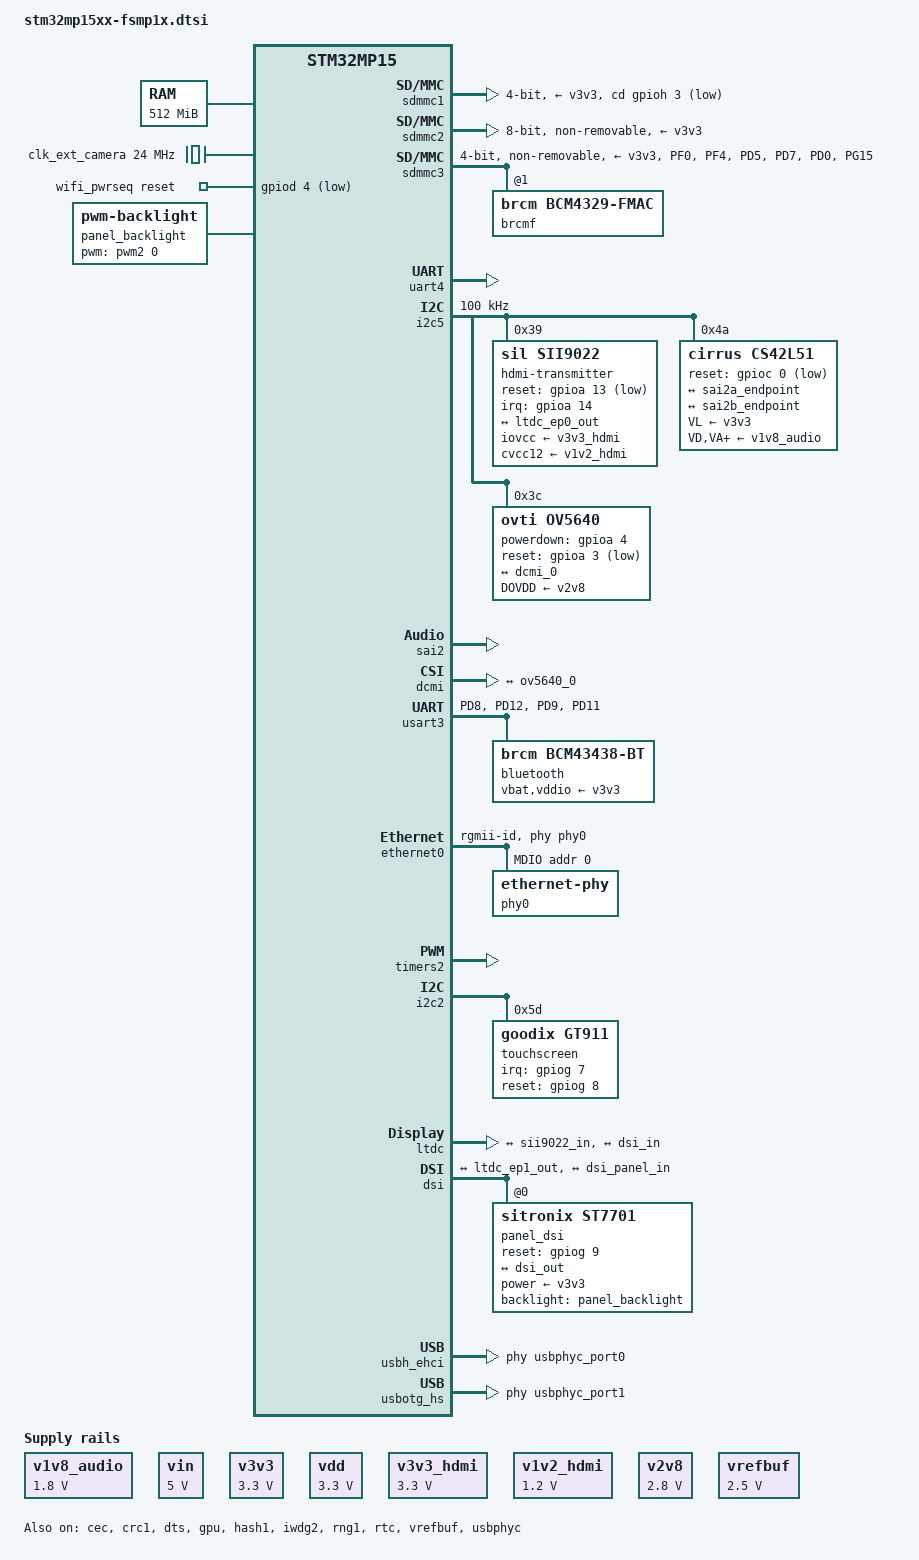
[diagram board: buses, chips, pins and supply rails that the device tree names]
#include "stm32mp15-m4-srm.dtsi"
#include "stm32mp15-m4-srm-pinctrl.dtsi"
#include <dt-bindings/gpio/gpio.h>
#include <dt-bindings/mfd/st,stpmic1.h>
#include <dt-bindings/rtc/rtc-stm32.h>

/ {
    memory@c0000000 {
        device_type = "memory";
        reg = <0xc0000000 0x20000000>;
    };
	
	v1v8_audio: regulator-v1v8_audio {
		compatible = "regulator-fixed";
		regulator-name = "v1v8_audio";
		regulator-min-microvolt = <1800000>;
		regulator-max-microvolt = <1800000>;
		regulator-always-on;
		regulator-boot-on;
	};
	sound {
		compatible = "audio-graph-card";
		label = "STM32MP1-FSMP1A";
		routing =
			"Playback" , "MCLK",
			"Capture" , "MCLK",
			"MICL" , "Mic Bias";
		dais = <&sai2a_port &sai2b_port>;
		status = "okay";
	};

    reserved-memory {
        #address-cells = <1>;
        #size-cells = <1>;
        ranges;

        mcuram2: mcuram2@10000000 {
            compatible = "shared-dma-pool";
            reg = <0x10000000 0x40000>;
            no-map;
        };

        vdev0vring0: vdev0vring0@10040000 {
            compatible = "shared-dma-pool";
            reg = <0x10040000 0x1000>;
            no-map;
        };

        vdev0vring1: vdev0vring1@10041000 {
            compatible = "shared-dma-pool";
            reg = <0x10041000 0x1000>;
            no-map;
        };

        vdev0buffer: vdev0buffer@10042000 {
            compatible = "shared-dma-pool";
            reg = <0x10042000 0x4000>;
            no-map;
        };

        mcuram: mcuram@30000000 {
            compatible = "shared-dma-pool";
            reg = <0x30000000 0x40000>;
            no-map;
        };

        retram: retram@38000000 {
            compatible = "shared-dma-pool";
            reg = <0x38000000 0x10000>;
            no-map;
        };
    };

    vin: vin {
        compatible = "regulator-fixed";
        regulator-name = "vin";
        regulator-min-microvolt = <5000000>;
        regulator-max-microvolt = <5000000>;
        regulator-always-on;
    };

    v3v3: regulator-3p3v {
        compatible = "regulator-fixed";
        regulator-name = "v3v3";
        regulator-min-microvolt = <3300000>;
        regulator-max-microvolt = <3300000>;
        regulator-always-on;
        regulator-boot-on;
    };

    vdd: regulator-vdd {
         compatible = "regulator-fixed";
         regulator-name = "vdd";
         regulator-min-microvolt = <3300000>;
         regulator-max-microvolt = <3300000>;
         regulator-always-on;
         regulator-boot-on;
     };

	v3v3_hdmi: regulator-v3v3-hdmi {
		compatible = "regulator-fixed";
		regulator-name = "v3v3_hdmi ";
		regulator-min-microvolt = <3300000>;
		regulator-max-microvolt = <3300000>;
		regulator-always-on;
		regulator-boot-on;
	};

	v1v2_hdmi: regulator-v1v2-hdmi {
		compatible = "regulator-fixed";
		regulator-name = "v1v2_hdmi";
		regulator-min-microvolt = <1200000>;
		regulator-max-microvolt = <1200000>;
		regulator-always-on;
		regulator-boot-on;
	};
	v2v8: regulator-2p8v {
		compatible = "regulator-fixed";
		regulator-name = "v2v8";
		regulator-min-microvolt = <2800000>;
		regulator-max-microvolt = <2800000>;
		regulator-always-on;
		regulator-boot-on;
	};
	clocks {
		clk_ext_camera: clk-ext-camera {
			#clock-cells = <0>;
			compatible = "fixed-clock";
			clock-frequency = <24000000>;
		};
	};
	usb_phy_tuning: usb-phy-tuning {
		st,hs-dc-level = <2>;
		st,fs-rftime-tuning;
		st,hs-rftime-reduction;
		st,hs-current-trim = <15>;
		st,hs-impedance-trim = <1>;
		st,squelch-level = <3>;
		st,hs-rx-offset = <2>;
		st,no-lsfs-sc;
	};
	wifi_pwrseq: wifi-pwrseq {
    	compatible = "mmc-pwrseq-simple";
    	reset-gpios = <&gpiod 4 GPIO_ACTIVE_LOW>;
	};

	panel_backlight: panel-backlight {
		compatible = "pwm-backlight";
		pwms = <&pwm2 0 5000000>;
		brightness-levels = <0 4 8 16 32 64 128 255>;
		default-brightness-level = <6>;
		status = "okay";
	};
};

/*HDMI CEC控制器*/
&cec {
    pinctrl-names = "default", "sleep";
    pinctrl-0 = <&cec_pins_b>;
    pinctrl-1 = <&cec_sleep_pins_b>;
    status = "okay";
};

/*循环冗余校验计算单元*/
&crc1 {
    status = "okay";
};

&dma1 {
    sram = <&dma_pool>;
};

&dma2 {
    sram = <&dma_pool>;
};
/*数字钟温度传感器*/
&dts {
    status = "okay";
};
/*图像处理单元*/
&gpu {
    contiguous-area = <&gpu_reserved>;
    status = "okay";
};
/*哈希处理器*/
&hash1 {
    status = "okay";
};

/*处理器间通信控制器*/
&ipcc {
    status = "okay";
};

/*看门狗*/
&iwdg2 {
    timeout-sec = <32>;
    status = "okay";
};

/*随机数发生器*/
&rng1 {
    status = "okay";
};

/*实时时钟*/
&rtc {
	st,lsco = <RTC_OUT2_RMP>;
 	pinctrl-0 = <&rtc_out2_rmp_pins_a>;
 	pinctrl-names = "default";
	status = "okay";

};

/*sdmmc1 TF卡*/
&sdmmc1 {
    pinctrl-names = "default", "opendrain", "sleep";
    pinctrl-0 = <&sdmmc1_b4_pins_a>;
    pinctrl-1 = <&sdmmc1_b4_od_pins_a>;
    pinctrl-2 = <&sdmmc1_b4_sleep_pins_a>;
    cd-gpios = <&gpioh 3 (GPIO_ACTIVE_LOW | GPIO_PULL_UP)>;
    disable-wp;
    st,neg-edge;
    bus-width = <4>;
    vmmc-supply = <&v3v3>;
    status = "okay";
};

&sdmmc2 {
	pinctrl-names = "default", "opendrain", "sleep";
	pinctrl-0 = <&sdmmc2_b4_pins_a &sdmmc2_d47_pins_a>;
	pinctrl-1 = <&sdmmc2_b4_od_pins_a &sdmmc2_d47_pins_a>;
	pinctrl-2 = <&sdmmc2_b4_sleep_pins_a &sdmmc2_d47_sleep_pins_a>;
	non-removable;
	no-sd;
	no-sdio;
	st,neg-edge;
	bus-width = <8>;
	vmmc-supply = <&v3v3>;
	vqmmc-supply = <&vdd>;
	mmc-ddr-3_3v;
	status = "okay";
};

&sdmmc3 {
    arm,primecell-periphid = <0x10153180>;
    pinctrl-names = "default", "opendrain", "sleep";
    pinctrl-0 = <&sdmmc3_b4_wifi_pins_a>;
    pinctrl-1 = <&sdmmc3_b4_od_wifi_pins_a>;
    pinctrl-2 = <&sdmmc3_b4_sleep_wifi_pins_a>;
    non-removable;
    st,neg-edge;
    bus-width = <4>;
    vmmc-supply = <&v3v3>;
    mmc-pwrseq = <&wifi_pwrseq>;
    #address-cells = <1>;
    #size-cells = <0>;
    keep-power-in-suspend;
    status = "okay";

    brcmf: bcrmf@1 {
        reg = <1>;
        compatible = "brcm,bcm4329-fmac";
    };
};


&sram {
    dma_pool: dma_pool@0 {
        reg = <0x50000 0x10000>;
        pool;
    };
};

/*命令行终端*/
&uart4 {
    pinctrl-names = "default", "sleep", "idle";
    pinctrl-0 = <&uart4_pins_a>;
    pinctrl-1 = <&uart4_sleep_pins_a>;
    pinctrl-2 = <&uart4_idle_pins_a>;
    pinctrl-3 = <&uart4_pins_a>;
    /delete-property/dmas;
    /delete-property/dma-names;
    status = "okay";
};

/*电源基准缓冲器*/
&vrefbuf {
    regulator-min-microvolt = <2500000>;
    regulator-max-microvolt = <2500000>;
    vdda-supply = <&vdd>;
    status = "okay";
};

&pinctrl {
	sdmmc3_b4_wifi_pins_a: sdmmc3-b4-wifi-0 {
    	pins1 {
        	pinmux = <STM32_PINMUX('F', 0, AF9)>, /* SDMMC3_D0 */
             	<STM32_PINMUX('F', 4, AF9)>, /* SDMMC3_D1 */
             	<STM32_PINMUX('D', 5, AF10)>, /* SDMMC3_D2 */
            	<STM32_PINMUX('D', 7, AF10)>, /* SDMMC3_D3 */
             	<STM32_PINMUX('D', 0, AF10)>; /* SDMMC3_CMD */
        	slew-rate = <1>;
        	drive-push-pull;
        	bias-pull-up;
    	};
    	pins2 {
        	pinmux = <STM32_PINMUX('G', 15, AF10)>; /* SDMMC3_CK */
        	slew-rate = <2>;
        	drive-push-pull;
        	bias-pull-up;
    	};
	};

	sdmmc3_b4_od_wifi_pins_a: sdmmc3-b4-od-wifi-0 {
    	pins1 {
        	pinmux = <STM32_PINMUX('F', 0, AF9)>, /* SDMMC3_D0 */
            	<STM32_PINMUX('F', 4, AF9)>, /* SDMMC3_D1 */
             	<STM32_PINMUX('D', 5, AF10)>, /* SDMMC3_D2 */
             	<STM32_PINMUX('D', 7, AF10)>; /* SDMMC3_D3 */
        	slew-rate = <1>;
        	drive-push-pull;
        	bias-pull-up;
    	};

    	pins2 {
        	pinmux = <STM32_PINMUX('G', 15, AF10)>; /* SDMMC3_CK */
        	slew-rate = <2>;
        	drive-push-pull;
        	bias-pull-up;
    	};

    	pins3 {
        	pinmux = <STM32_PINMUX('D', 0, AF10)>; /* SDMMC2_CMD */
        	slew-rate = <1>;
        	drive-open-drain;
        	bias-pull-up;
    	};
	};

	sdmmc3_b4_sleep_wifi_pins_a: sdmmc3-b4-sleep-wifi-0 {
    	pins {
        	pinmux = <STM32_PINMUX('F', 0, ANALOG)>, /* SDMMC3_D0 */
             	<STM32_PINMUX('F', 4, ANALOG)>, /* SDMMC3_D1 */
             	<STM32_PINMUX('D', 5, ANALOG)>, /* SDMMC3_D2 */
             	<STM32_PINMUX('D', 7, ANALOG)>, /* SDMMC3_D3 */
             	<STM32_PINMUX('G', 15, ANALOG)>, /* SDMMC3_CK */
             	<STM32_PINMUX('D', 0, ANALOG)>; /* SDMMC3_CMD */
    	};
	};

	pwm2_pins_b: pwm2-0 {
		pins {
			pinmux = <STM32_PINMUX('A', 5, AF1)>; /* TIM2_CH1 */
			bias-pull-down;
			drive-push-pull;
			slew-rate = <0>;
		};
	};

	pwm2_sleep_pins_b: pwm1-sleep-0 {
		pins {
			pinmux = <STM32_PINMUX('A', 5, ANALOG)>; /* TIM2_CH1 */
		};
	};

	usart3_pins_bt: usart3-bt-0 {
    	pins1 {
       		pinmux = <STM32_PINMUX('D', 8, AF7)>, /* USART3_TX */
              <STM32_PINMUX('D', 12, AF7)>; /* USART3_RTS */
       		bias-disable;
       		drive-push-pull;
       		slew-rate = <0>;
    	};
    	pins2 {
       		pinmux = <STM32_PINMUX('D', 9, AF7)>, /* USART3_RX */
              <STM32_PINMUX('D', 11, AF7)>; /* USART3_CTS_NSS */
       		bias-disable;
    	}; 
	};

	usart3_idle_pins_bt: usart3-idle-bt-0 {
    	pins1 {
        	pinmux = <STM32_PINMUX('D', 8, ANALOG)>, /* USART3_TX */
               <STM32_PINMUX('D', 12, ANALOG)>, /* USART3_RTS */
               <STM32_PINMUX('D', 11, ANALOG)>; /* USART3_CTS_NSS */
    	};
    	pins2 {
        	pinmux = <STM32_PINMUX('D', 9, AF7)>; /* USART3_RX */
        	bias-disable;
    	};
	};

	usart3_sleep_pins_bt: usart3-sleep-bt-0 {
    	pins {
        	pinmux = <STM32_PINMUX('D', 8, ANALOG)>, /* USART3_TX */
                <STM32_PINMUX('D', 12, ANALOG)>, /* USART3_RTS */
                <STM32_PINMUX('D', 11, ANALOG)>, /* USART3_CTS_NSS */
                <STM32_PINMUX('D', 9, ANALOG)>; /* USART3_RX */
    	};
	};

	btreg0: bt_reg_on-0 {
    	pins {
        	pinmux = <STM32_PINMUX('D', 13, GPIO)>;
        	drive-push-pull;
        	bias-pull-up;
        	output-high;
        	slew-rate = <0>;
    	};
	};
};

&i2c5 {
	pinctrl-names = "default", "sleep";
	pinctrl-0 = <&i2c5_pins_a>;
	pinctrl-1 = <&i2c5_sleep_pins_a>;
	i2c-scl-rising-time-ns = <100>;
	i2c-scl-falling-time-ns = <7>;
	clock-frequency = <100000>;
	/* spare dmas for other usage */
	/delete-property/dmas;
	/delete-property/dma-names;
	status = "okay";

	hdmi-transmitter@39 {
		compatible = "sil,sii9022";
		reg = <0x39>;
		iovcc-supply = <&v3v3_hdmi>;
		cvcc12-supply = <&v1v2_hdmi>;
		reset-gpios = <&gpioa 13 GPIO_ACTIVE_LOW>;
		interrupts = <14 IRQ_TYPE_EDGE_FALLING>;
		interrupt-parent = <&gpioa>;
		#sound-dai-cells = <0>;
		status = "okay";

		ports {
			#address-cells = <1>;
			#size-cells = <0>;

			port@0 {
				reg = <0>;
				sii9022_in: endpoint {
					remote-endpoint = <&ltdc_ep0_out>;
				};
			};
		};
	};

	cs42l51: cs42l51@4a {
		compatible = "cirrus,cs42l51";
		reg = <0x4a>;
		#sound-dai-cells = <0>;
		VL-supply = <&v3v3>;
		VD-supply = <&v1v8_audio>;
		VA-supply = <&v1v8_audio>;
		VAHP-supply = <&v1v8_audio>;
		reset-gpios = <&gpioc 0 GPIO_ACTIVE_LOW>;
		clocks = <&sai2a>;
		clock-names = "MCLK";
		status = "okay";

		cs42l51_port: port {
			#address-cells = <1>;
			#size-cells = <0>;

			cs42l51_tx_endpoint: endpoint@0 {
				reg = <0>;
				remote-endpoint = <&sai2a_endpoint>;
				frame-master;
				bitclock-master;
			};

			cs42l51_rx_endpoint: endpoint@1 {
				reg = <1>;
				remote-endpoint = <&sai2b_endpoint>;
				frame-master;
				bitclock-master;
			};
		};
	};

	ov5640: camera@3c {
		compatible = "ovti,ov5640";
		reg = <0x3c>;
		clocks = <&clk_ext_camera>;
		clock-names = "xclk";
		DOVDD-supply = <&v2v8>;
		powerdown-gpios = <&gpioa 4 (GPIO_ACTIVE_HIGH | GPIO_PUSH_PULL)>;
		reset-gpios = <&gpioa 3 (GPIO_ACTIVE_LOW | GPIO_PUSH_PULL)>;
		rotation = <180>;
		status = "okay";

		port {
			ov5640_0: endpoint {
				remote-endpoint = <&dcmi_0>;
				bus-width = <8>;
				data-shift = <2>; /* lines 9:2 are used */
				hsync-active = <0>;
				vsync-active = <0>;
				pclk-sample = <1>;
				pclk-max-frequency = <77000000>;
		  	};
		};
	};

};


&sai2 {
	clocks = <&rcc SAI2>, <&rcc PLL3_Q>, <&rcc PLL3_R>;
	clock-names = "pclk", "x8k", "x11k";
	pinctrl-names = "default", "sleep";
	pinctrl-0 = <&sai2a_pins_a>, <&sai2b_pins_b>;
	pinctrl-1 = <&sai2a_sleep_pins_a>, <&sai2b_sleep_pins_b>;
	status = "okay";

	sai2a: audio-controller@4400b004 {
		#clock-cells = <0>;
		dma-names = "tx";
		clocks = <&rcc SAI2_K>;
		clock-names = "sai_ck";
		status = "okay";

		sai2a_port: port {
			sai2a_endpoint: endpoint {
				remote-endpoint = <&cs42l51_tx_endpoint>;
				format = "i2s";
				mclk-fs = <256>;
				dai-tdm-slot-num = <2>;
				dai-tdm-slot-width = <32>;
			};
		};
	};

	sai2b: audio-controller@4400b024 {
		dma-names = "rx";
		st,sync = <&sai2a 2>;
		clocks = <&rcc SAI2_K>, <&sai2a>;
		clock-names = "sai_ck", "MCLK";
		status = "okay";

		sai2b_port: port {
			sai2b_endpoint: endpoint {
				remote-endpoint = <&cs42l51_rx_endpoint>;
				format = "i2s";
				mclk-fs = <256>;
				dai-tdm-slot-num = <2>;
				dai-tdm-slot-width = <32>;
			};
		};
	};
};


&dcmi {
	status = "okay";
	pinctrl-names = "default", "sleep";
	pinctrl-0 = <&dcmi_pins_a>;
	pinctrl-1 = <&dcmi_sleep_pins_a>;

	port {
		dcmi_0: endpoint {
			remote-endpoint = <&ov5640_0>;
			bus-width = <8>;
			hsync-active = <0>;
			vsync-active = <0>;
			pclk-sample = <1>;
			pclk-max-frequency = <77000000>;
		};
	};
};

&usart3 {
    pinctrl-names = "default", "sleep", "idle";
    pinctrl-0 = <&usart3_pins_bt>;
    pinctrl-1 = <&usart3_idle_pins_bt>;
    pinctrl-2 = <&usart3_sleep_pins_bt>;
    uart-has-rtscts; 
    status = "okay";
        
    bluetooth {
        pinctrl-names = "default";
        pinctrl-0 = <&btreg0>;
        compatible = "brcm,bcm43438-bt";
        max-speed = <3000000>;
        vbat-supply = <&v3v3>;
        vddio-supply = <&v3v3>;
    };
};

&sdmmc3 {
    arm,primecell-periphid = <0x10153180>;
    pinctrl-names = "default", "opendrain", "sleep";
    pinctrl-0 = <&sdmmc3_b4_wifi_pins_a>;
    pinctrl-1 = <&sdmmc3_b4_od_wifi_pins_a>;
    pinctrl-2 = <&sdmmc3_b4_sleep_wifi_pins_a>;
    non-removable;
    st,neg-edge;
    bus-width = <4>;
    vmmc-supply = <&v3v3>;
    mmc-pwrseq = <&wifi_pwrseq>;
    #address-cells = <1>;
    #size-cells = <0>;
    keep-power-in-suspend;
    status = "okay";

    brcmf: bcrmf@1 {
        reg = <1>;
        compatible = "brcm,bcm4329-fmac";
    };
};

&ethernet0 {
	status = "okay";
	pinctrl-0 = <&ethernet0_rgmii_pins_a>;
	pinctrl-1 = <&ethernet0_rgmii_sleep_pins_a>;
	pinctrl-names = "default", "sleep";
	phy-mode = "rgmii-id";
	max-speed = <1000>;
	phy-handle = <&phy0>;

	mdio0 {
		#address-cells = <1>;
		#size-cells = <0>;
		compatible = "snps,dwmac-mdio";
		phy0: ethernet-phy@0 {
			reg = <0>;
		};
	};
};

&timers2 {
	/* spare dmas for other usage */
	/delete-property/dmas;
	/delete-property/dma-names;
	status = "okay";
	pwm2: pwm {
		pinctrl-0 = <&pwm2_pins_b>;
		pinctrl-1 = <&pwm2_sleep_pins_b>;
		pinctrl-names = "default", "sleep";
		#pwm-cells = <2>;
		status = "okay";
	};

	timer@2 {
		status = "disabled";
	};
};

&i2c2 {
	pinctrl-names = "default", "sleep";
	pinctrl-0 = <&i2c2_pins_a>;
	pinctrl-1 = <&i2c2_sleep_pins_a>;
	i2c-scl-rising-time-ns = <100>;
	i2c-scl-falling-time-ns = <7>;
	status = "okay";
	/delete-property/dmas;
	/delete-property/dma-names;

	touchscreen@5d {
		compatible = "goodix,gt911";
		reg = <0x5d>;
		irq-gpios = <&gpiog 7 (GPIO_ACTIVE_HIGH | GPIO_PULL_UP)>;
		reset-gpios = <&gpiog 8 GPIO_ACTIVE_HIGH>;
		interrupt-parent = <&gpiog>;
		interrupts = <7 IRQ_TYPE_EDGE_FALLING>;
		status = "okay";
		// touchscreen-inverted-x;
		touchscreen-inverted-y;
		// touchscreen-swapped-x-y;
	};
};
&ltdc {
	pinctrl-names = "default", "sleep";
	pinctrl-0 = <&ltdc_pins_b>;
	pinctrl-1 = <&ltdc_sleep_pins_b>;
	status = "okay";

	port {
		#address-cells = <1>;
		#size-cells = <0>;

		ltdc_ep0_out: endpoint@0 {
			reg = <0>;
		 	remote-endpoint = <&sii9022_in>;
		 };
		ltdc_ep1_out: endpoint@1 {
			reg = <1>;
			remote-endpoint = <&dsi_in>;
		};
	};
};
&dsi {
	#address-cells = <1>;
	#size-cells = <0>;
	status = "okay";
	ports {
		#address-cells = <1>;
		#size-cells = <0>;
		port@0 {
			reg = <0>;
			dsi_in: endpoint {
				remote-endpoint = <&ltdc_ep1_out>;
			};
		};
		port@1 {
			reg = <1>;
			dsi_out: endpoint {
				remote-endpoint = <&dsi_panel_in>;
			};
		};
	};

	panel_dsi: panel-dsi@0 {
		compatible = "sitronix,st7701";
		reg = <0>;
		reset-gpios = <&gpiog 9 GPIO_ACTIVE_HIGH>;
		backlight = <&panel_backlight>;
		power-supply = <&v3v3>;
		status = "okay";
		port {
			dsi_panel_in: endpoint {
				remote-endpoint = <&dsi_out>;
			};
		};
	};
};

&usbh_ehci {
	phys = <&usbphyc_port0>;
	status = "okay";
};

&usbotg_hs {
	pinctrl-0 = <&usbotg_hs_pins_a>;
	pinctrl-names = "default";
	phys = <&usbphyc_port1 0>;
	phy-names = "usb2-phy";
	status = "okay";
};

&usbphyc {
	status = "okay";
};

&usbphyc_port0 {
	st,phy-tuning = <&usb_phy_tuning>;
};

&usbphyc_port1 {
	st,phy-tuning = <&usb_phy_tuning>;
};

